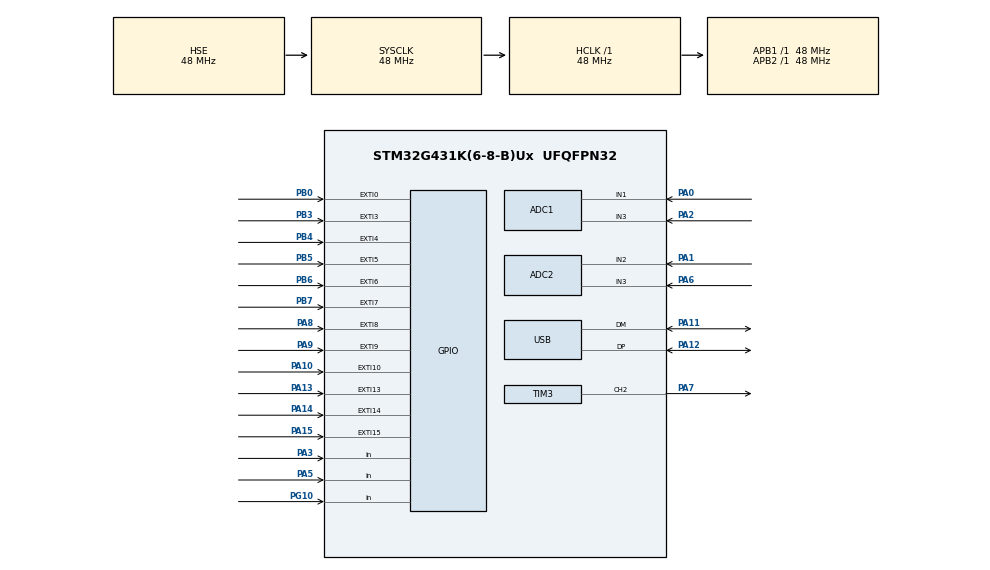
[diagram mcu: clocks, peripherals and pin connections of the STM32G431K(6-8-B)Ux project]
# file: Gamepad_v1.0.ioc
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ADC1.Channel-0\#ChannelRegularConversion=ADC_CHANNEL_1
ADC1.Channel-1\#ChannelRegularConversion=ADC_CHANNEL_3
ADC1.ContinuousConvMode=ENABLE
ADC1.DMAContinuousRequests=ENABLE
ADC1.EOCSelection=ADC_EOC_SEQ_CONV
ADC1.ExternalTrigConv=ADC_EXTERNALTRIG_T6_TRGO
ADC1.ExternalTrigConvEdge=ADC_EXTERNALTRIGCONVEDGE_RISING
ADC1.NbrOfConversion=2
ADC1.NbrOfConversionFlag=1
ADC1.OffsetNumber-0\#ChannelRegularConversion=ADC_OFFSET_NONE
ADC1.OffsetNumber-1\#ChannelRegularConversion=ADC_OFFSET_NONE
ADC1.Overrun=ADC_OVR_DATA_OVERWRITTEN
ADC1.Rank-0\#ChannelRegularConversion=1
ADC1.Rank-1\#ChannelRegularConversion=2
ADC1.SamplingTime-0\#ChannelRegularConversion=ADC_SAMPLETIME_2CYCLES_5
ADC1.SamplingTime-1\#ChannelRegularConversion=ADC_SAMPLETIME_2CYCLES_5
ADC1.master=1
ADC2.Channel-1\#ChannelRegularConversion=ADC_CHANNEL_2
ADC2.Channel-3\#ChannelRegularConversion=ADC_CHANNEL_3
ADC2.ContinuousConvMode=ENABLE
ADC2.DMAContinuousRequests=ENABLE
ADC2.EOCSelection=ADC_EOC_SEQ_CONV
ADC2.ExternalTrigConv=ADC_EXTERNALTRIG_T6_TRGO
ADC2.NbrOfConversion=2
ADC2.NbrOfConversionFlag=1
ADC2.OffsetNumber-1\#ChannelRegularConversion=ADC_OFFSET_NONE
ADC2.OffsetNumber-3\#ChannelRegularConversion=ADC_OFFSET_NONE
ADC2.Overrun=ADC_OVR_DATA_OVERWRITTEN
ADC2.Rank-1\#ChannelRegularConversion=1
ADC2.Rank-3\#ChannelRegularConversion=2
ADC2.SamplingTime-1\#ChannelRegularConversion=ADC_SAMPLETIME_2CYCLES_5
ADC2.SamplingTime-3\#ChannelRegularConversion=ADC_SAMPLETIME_2CYCLES_5
Dma.ADC1.0.Direction=DMA_PERIPH_TO_MEMORY
Dma.ADC1.0.EventEnable=DISABLE
Dma.ADC1.0.Instance=DMA1_Channel1
Dma.ADC1.0.MemDataAlignment=DMA_MDATAALIGN_HALFWORD
Dma.ADC1.0.MemInc=DMA_MINC_ENABLE
Dma.ADC1.0.Mode=DMA_CIRCULAR
Dma.ADC1.0.PeriphDataAlignment=DMA_PDATAALIGN_HALFWORD
Dma.ADC1.0.PeriphInc=DMA_PINC_DISABLE
Dma.ADC1.0.Polarity=HAL_DMAMUX_REQ_GEN_RISING
Dma.ADC1.0.Priority=DMA_PRIORITY_HIGH
Dma.ADC1.0.RequestNumber=1
Dma.ADC1.0.SignalID=NONE
Dma.ADC1.0.SyncEnable=DISABLE
Dma.ADC1.0.SyncPolarity=HAL_DMAMUX_SYNC_NO_EVENT
Dma.ADC1.0.SyncRequestNumber=1
Dma.ADC1.0.SyncSignalID=NONE
Dma.ADC2.1.Direction=DMA_PERIPH_TO_MEMORY
Dma.ADC2.1.EventEnable=DISABLE
Dma.ADC2.1.Instance=DMA1_Channel2
Dma.ADC2.1.MemDataAlignment=DMA_MDATAALIGN_HALFWORD
Dma.ADC2.1.MemInc=DMA_MINC_ENABLE
Dma.ADC2.1.Mode=DMA_CIRCULAR
Dma.ADC2.1.PeriphDataAlignment=DMA_PDATAALIGN_HALFWORD
Dma.ADC2.1.PeriphInc=DMA_PINC_DISABLE
Dma.ADC2.1.Polarity=HAL_DMAMUX_REQ_GEN_RISING
Dma.ADC2.1.Priority=DMA_PRIORITY_HIGH
Dma.ADC2.1.RequestNumber=1
Dma.ADC2.1.SignalID=NONE
Dma.ADC2.1.SyncEnable=DISABLE
Dma.ADC2.1.SyncPolarity=HAL_DMAMUX_SYNC_NO_EVENT
Dma.ADC2.1.SyncRequestNumber=1
Dma.ADC2.1.SyncSignalID=NONE
Dma.Request0=ADC1
Dma.Request1=ADC2
Dma.Request2=TIM3_CH2
Dma.TIM3_CH2.2.Direction=DMA_MEMORY_TO_PERIPH
Dma.TIM3_CH2.2.EventEnable=DISABLE
Dma.TIM3_CH2.2.Instance=DMA1_Channel3
Dma.TIM3_CH2.2.MemDataAlignment=DMA_MDATAALIGN_HALFWORD
Dma.TIM3_CH2.2.MemInc=DMA_MINC_ENABLE
Dma.TIM3_CH2.2.Mode=DMA_NORMAL
Dma.TIM3_CH2.2.PeriphDataAlignment=DMA_PDATAALIGN_HALFWORD
Dma.TIM3_CH2.2.PeriphInc=DMA_PINC_DISABLE
Dma.TIM3_CH2.2.Polarity=HAL_DMAMUX_REQ_GEN_RISING
Dma.TIM3_CH2.2.Priority=DMA_PRIORITY_HIGH
Dma.TIM3_CH2.2.RequestNumber=1
Dma.TIM3_CH2.2.SignalID=NONE
Dma.TIM3_CH2.2.SyncEnable=DISABLE
Dma.TIM3_CH2.2.SyncPolarity=HAL_DMAMUX_SYNC_NO_EVENT
Dma.TIM3_CH2.2.SyncRequestNumber=1
Dma.TIM3_CH2.2.SyncSignalID=NONE
Mcu.Family=STM32G4
Mcu.Name=STM32G431K(6-8-B)Ux
Mcu.Package=UFQFPN32
NVIC.DMA1_Channel3_IRQn=true\:2\:0\:true\:false\:true\:true\:true\:true
NVIC.EXTI0_IRQn=true\:0\:0\:false\:false\:true\:true\:true\:true
NVIC.EXTI15_10_IRQn=true\:0\:0\:false\:false\:true\:true\:true\:true
NVIC.EXTI3_IRQn=true\:0\:0\:false\:false\:true\:true\:true\:true
NVIC.EXTI4_IRQn=true\:0\:0\:false\:false\:true\:true\:true\:true
NVIC.EXTI9_5_IRQn=true\:0\:0\:false\:false\:true\:true\:true\:true
NVIC.PriorityGroup=NVIC_PRIORITYGROUP_4
NVIC.TIM1_TRG_COM_TIM17_IRQn=true\:0\:0\:false\:false\:true\:true\:true\:true
NVIC.TIM1_UP_TIM16_IRQn=true\:0\:0\:false\:false\:true\:true\:true\:true
NVIC.TIM7_IRQn=true\:0\:0\:false\:false\:true\:true\:true\:true
NVIC.USB_LP_IRQn=true\:1\:0\:true\:false\:true\:false\:true\:true
PA0.Mode=IN1-Single-Ended
PA0.Signal=ADC1_IN1
PA1.Mode=IN2-Single-Ended
PA1.Signal=ADC2_IN2
PA10.GPIO_ModeDefaultEXTI=GPIO_MODE_IT_RISING_FALLING
PA10.GPIO_PuPd=GPIO_NOPULL
PA10.Signal=GPXTI10
PA11.Mode=Device
PA11.Signal=USB_DM
PA12.Mode=Device
PA12.Signal=USB_DP
PA13.GPIO_PuPd=GPIO_PULLUP
PA13.Signal=GPXTI13
PA14.GPIO_PuPd=GPIO_PULLUP
PA14.Signal=GPXTI14
PA15.GPIO_ModeDefaultEXTI=GPIO_MODE_IT_RISING_FALLING
PA15.GPIO_PuPd=GPIO_PULLUP
PA15.Signal=GPXTI15
PA2.Mode=IN3-Single-Ended
PA2.Signal=ADC1_IN3
PA3.GPIO_PuPd=GPIO_NOPULL
PA3.Signal=GPIO_Input
PA5.Signal=GPIO_Input
PA6.Mode=IN3-Single-Ended
PA6.Signal=ADC2_IN3
PA7.Signal=S_TIM3_CH2
PA8.GPIO_ModeDefaultEXTI=GPIO_MODE_IT_RISING_FALLING
PA8.GPIO_PuPd=GPIO_NOPULL
PA8.Signal=GPXTI8
PA9.GPIO_ModeDefaultEXTI=GPIO_MODE_IT_RISING_FALLING
PA9.GPIO_PuPd=GPIO_NOPULL
PA9.Signal=GPXTI9
PB0.GPIO_ModeDefaultEXTI=GPIO_MODE_IT_RISING_FALLING
PB0.GPIO_PuPd=GPIO_NOPULL
PB0.Signal=GPXTI0
PB3.GPIO_ModeDefaultEXTI=GPIO_MODE_IT_RISING_FALLING
PB3.GPIO_PuPd=GPIO_PULLUP
PB3.Signal=GPXTI3
PB4.GPIO_ModeDefaultEXTI=GPIO_MODE_IT_RISING_FALLING
PB4.GPIO_PuPd=GPIO_NOPULL
PB4.Signal=GPXTI4
PB5.GPIO_ModeDefaultEXTI=GPIO_MODE_IT_RISING_FALLING
PB5.GPIO_PuPd=GPIO_NOPULL
PB5.Signal=GPXTI5
PB6.GPIO_ModeDefaultEXTI=GPIO_MODE_IT_RISING_FALLING
PB6.GPIO_PuPd=GPIO_NOPULL
PB6.Signal=GPXTI6
PB7.GPIO_ModeDefaultEXTI=GPIO_MODE_IT_RISING_FALLING
PB7.GPIO_PuPd=GPIO_NOPULL
PB7.Signal=GPXTI7
PF0-OSC_IN.Mode=HSE-External-Oscillator
PF0-OSC_IN.Signal=RCC_OSC_IN
PF1-OSC_OUT.Mode=HSE-External-Oscillator
PF1-OSC_OUT.Signal=RCC_OSC_OUT
PG10-NRST.GPIO_PuPd=GPIO_NOPULL
PG10-NRST.Signal=GPIO_Input
ProjectManager.HeapSize=0x200
ProjectManager.StackSize=0x400
ProjectManager.TargetToolchain=STM32CubeIDE
RCC.ADC12Freq_Value=48000000
RCC.AHBFreq_Value=48000000
RCC.APB1Freq_Value=48000000
RCC.APB1TimFreq_Value=48000000
RCC.APB2Freq_Value=48000000
RCC.APB2TimFreq_Value=48000000
RCC.CortexFreq_Value=48000000
RCC.EXTERNAL_CLOCK_VALUE=12288000
RCC.HCLKFreq_Value=48000000
RCC.HSE_VALUE=48000000
RCC.HSI48_VALUE=48000000
RCC.HSI_VALUE=16000000
RCC.LSE_VALUE=32768
RCC.PLLM=RCC_PLLM_DIV3
RCC.PLLN=12
RCC.PLLQ=RCC_PLLQ_DIV4
RCC.PLLSourceVirtual=RCC_PLLSOURCE_HSE
RCC.SYSCLKFreq_VALUE=48000000
RCC.SYSCLKSource=RCC_SYSCLKSOURCE_HSE
RCC.USBFreq_Value=48000000
RCC.VCOOutputFreq_Value=192000000
SH.S_TIM3_CH2.0=TIM3_CH2,PWM Generation2 CH2
TIM16.AutoReloadPreload=TIM_AUTORELOAD_PRELOAD_DISABLE
TIM16.PeriodNoDither=99
TIM16.Prescaler=47999
TIM17.PeriodNoDither=99
TIM17.Prescaler=47999
TIM3.Channel-PWM\ Generation2\ CH2=TIM_CHANNEL_2
TIM3.PeriodNoDither=59
TIM6.AutoReloadPreload=TIM_AUTORELOAD_PRELOAD_ENABLE
TIM6.PeriodNoDither=999
TIM6.Prescaler=47
TIM6.TIM_MasterOutputTrigger=TIM_TRGO_UPDATE
TIM7.PeriodNoDither=99
TIM7.Prescaler=47999
TIM7.TIM_MasterOutputTrigger=TIM_TRGO_RESET
USB_DEVICE.CLASS_NAME_FS=CUSTOM_HID
USB_DEVICE.CONFIGURATION_STRING_CUSTOMHID_FS=Phoenix
USB_DEVICE.CUSTOM_HID_FS_BINTERVAL=0x01
USB_DEVICE.INTERFACE_STRING_CUSTOMHID_FS=Phoenix
USB_DEVICE.PRODUCT_STRING_CUSTOMHID_FS=Phoenix 1
USB_DEVICE.USBD_CUSTOMHID_OUTREPORT_BUF_SIZE=64
USB_DEVICE.USBD_CUSTOM_HID_REPORT_DESC_SIZE=90
USB_DEVICE.USBD_DEBUG_LEVEL=0
USB_DEVICE.USBD_SELF_POWERED=0
USB_DEVICE.VirtualMode=CustomHid
USB_DEVICE.VirtualModeFS=Custom_Hid_FS
VP_SYS_VS_DBSignals.Mode=DisableDeadBatterySignals
VP_TIM16_VS_ClockSourceINT.Mode=Enable_Timer
VP_TIM17_VS_ClockSourceINT.Mode=Enable_Timer
VP_TIM6_VS_ClockSourceINT.Mode=Enable_Timer
VP_TIM7_VS_ClockSourceINT.Mode=Enable_Timer
VP_USB_DEVICE_VS_USB_DEVICE_CUSTOM_HID_FS.Mode=CUSTOM_HID_FS
board=custom

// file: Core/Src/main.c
/* USER CODE BEGIN Header */
/**
  ******************************************************************************
  * @file           : main.c
  * @brief          : Main program body
  ******************************************************************************
  * @attention
  *
  * Copyright (c) 2024 STMicroelectronics.
  * All rights reserved.
  *
  * This software is licensed under terms that can be found in the LICENSE file
  * in the root directory of this software component.
  * If no LICENSE file comes with this software, it is provided AS-IS.
  *
  ******************************************************************************
  */
/* USER CODE END Header */
#include "main.h"
#include "usb_device.h"

ADC_HandleTypeDef hadc1;
ADC_HandleTypeDef hadc2;
DMA_HandleTypeDef hdma_adc1;
DMA_HandleTypeDef hdma_adc2;

TIM_HandleTypeDef htim3;
TIM_HandleTypeDef htim6;
TIM_HandleTypeDef htim7;
TIM_HandleTypeDef htim16;
TIM_HandleTypeDef htim17;
DMA_HandleTypeDef hdma_tim3_ch2;

void SystemClock_Config(void);
static void MX_GPIO_Init(void);
static void MX_DMA_Init(void);
static void MX_ADC1_Init(void);
static void MX_TIM6_Init(void);
static void MX_TIM17_Init(void);
static void MX_TIM7_Init(void);
static void MX_TIM16_Init(void);
static void MX_ADC2_Init(void);
static void MX_TIM3_Init(void);

/* USER CODE BEGIN 0 */
	uint8_t Backlight;
	uint8_t Enter;
	uint8_t A = 0;

	ADC_HandleTypeDef* hadc;

	volatile uint16_t last_gpioa_state = 0;
	volatile uint16_t last_gpiob_state = 0;
	volatile uint16_t previous_gpioa_state = 0;
	volatile uint16_t previous_gpiob_state = 0;
	volatile uint16_t last_hat_b_state = 0;
	volatile uint16_t prev_hat_b_state = 0;

	extern GamepadReport_TypeDef gamepad_report;
/* USER CODE END 0 */

int main(void)
{

  /* MCU Configuration--------------------------------------------------------*/

  /* Reset of all peripherals, Initializes the Flash interface and the Systick. */
  HAL_Init();

  /* Configure the system clock */
  SystemClock_Config();

  /* Initialize all configured peripherals */
  MX_GPIO_Init();
  MX_DMA_Init();
  MX_ADC1_Init();
  MX_USB_Device_Init();
  MX_TIM6_Init();
  MX_TIM17_Init();
  MX_TIM7_Init();
  MX_TIM16_Init();
  MX_ADC2_Init();
  MX_TIM3_Init();
  /* USER CODE BEGIN 2 */
  ADC_DMA_Init();
  Update_Range();
  /* USER CODE END 2 */

  /* Infinite loop */
  while (1)
  {

    /* USER CODE BEGIN 3 */

	  SendReport();
	  HAL_Delay(50);
	  A++;
  }
  /* USER CODE END 3 */
}

void SystemClock_Config(void)
{
  RCC_OscInitTypeDef RCC_OscInitStruct = {0};
  RCC_ClkInitTypeDef RCC_ClkInitStruct = {0};

  /** Configure the main internal regulator output voltage
  */
  HAL_PWREx_ControlVoltageScaling(PWR_REGULATOR_VOLTAGE_SCALE1);

  /** Initializes the RCC Oscillators according to the specified parameters
  * in the RCC_OscInitTypeDef structure.
  */
  RCC_OscInitStruct.OscillatorType = RCC_OSCILLATORTYPE_HSE;
  RCC_OscInitStruct.HSEState = RCC_HSE_ON;
  RCC_OscInitStruct.PLL.PLLState = RCC_PLL_ON;
  RCC_OscInitStruct.PLL.PLLSource = RCC_PLLSOURCE_HSE;
  RCC_OscInitStruct.PLL.PLLM = RCC_PLLM_DIV3;
  RCC_OscInitStruct.PLL.PLLN = 12;
  RCC_OscInitStruct.PLL.PLLP = RCC_PLLP_DIV2;
  RCC_OscInitStruct.PLL.PLLQ = RCC_PLLQ_DIV4;
  RCC_OscInitStruct.PLL.PLLR = RCC_PLLR_DIV2;
  if (HAL_RCC_OscConfig(&RCC_OscInitStruct) != HAL_OK)
  {
    Error_Handler();
  }

  /** Initializes the CPU, AHB and APB buses clocks
  */
  RCC_ClkInitStruct.ClockType = RCC_CLOCKTYPE_HCLK|RCC_CLOCKTYPE_SYSCLK
                              |RCC_CLOCKTYPE_PCLK1|RCC_CLOCKTYPE_PCLK2;
  RCC_ClkInitStruct.SYSCLKSource = RCC_SYSCLKSOURCE_HSE;
  RCC_ClkInitStruct.AHBCLKDivider = RCC_SYSCLK_DIV1;
  RCC_ClkInitStruct.APB1CLKDivider = RCC_HCLK_DIV1;
  RCC_ClkInitStruct.APB2CLKDivider = RCC_HCLK_DIV1;

  if (HAL_RCC_ClockConfig(&RCC_ClkInitStruct, FLASH_LATENCY_1) != HAL_OK)
  {
    Error_Handler();
  }
}

static void MX_ADC1_Init(void)
{

  ADC_MultiModeTypeDef multimode = {0};
  ADC_ChannelConfTypeDef sConfig = {0};

  /** Common config
  */
  hadc1.Instance = ADC1;
  hadc1.Init.ClockPrescaler = ADC_CLOCK_SYNC_PCLK_DIV2;
  hadc1.Init.Resolution = ADC_RESOLUTION_12B;
  hadc1.Init.DataAlign = ADC_DATAALIGN_RIGHT;
  hadc1.Init.GainCompensation = 0;
  hadc1.Init.ScanConvMode = ADC_SCAN_ENABLE;
  hadc1.Init.EOCSelection = ADC_EOC_SEQ_CONV;
  hadc1.Init.LowPowerAutoWait = DISABLE;
  hadc1.Init.ContinuousConvMode = ENABLE;
  hadc1.Init.NbrOfConversion = 2;
  hadc1.Init.DiscontinuousConvMode = DISABLE;
  hadc1.Init.ExternalTrigConv = ADC_EXTERNALTRIG_T6_TRGO;
  hadc1.Init.ExternalTrigConvEdge = ADC_EXTERNALTRIGCONVEDGE_RISING;
  hadc1.Init.DMAContinuousRequests = ENABLE;
  hadc1.Init.Overrun = ADC_OVR_DATA_OVERWRITTEN;
  hadc1.Init.OversamplingMode = DISABLE;
  if (HAL_ADC_Init(&hadc1) != HAL_OK)
  {
    Error_Handler();
  }

  /** Configure the ADC multi-mode
  */
  multimode.Mode = ADC_MODE_INDEPENDENT;
  if (HAL_ADCEx_MultiModeConfigChannel(&hadc1, &multimode) != HAL_OK)
  {
    Error_Handler();
  }

  /** Configure Regular Channel
  */
  sConfig.Channel = ADC_CHANNEL_1;
  sConfig.Rank = ADC_REGULAR_RANK_1;
  sConfig.SamplingTime = ADC_SAMPLETIME_2CYCLES_5;
  sConfig.SingleDiff = ADC_SINGLE_ENDED;
  sConfig.OffsetNumber = ADC_OFFSET_NONE;
  sConfig.Offset = 0;
  if (HAL_ADC_ConfigChannel(&hadc1, &sConfig) != HAL_OK)
  {
    Error_Handler();
  }

  /** Configure Regular Channel
  */
  sConfig.Channel = ADC_CHANNEL_3;
  sConfig.Rank = ADC_REGULAR_RANK_2;
  if (HAL_ADC_ConfigChannel(&hadc1, &sConfig) != HAL_OK)
  {
    Error_Handler();
  }

}

static void MX_ADC2_Init(void)
{

  ADC_ChannelConfTypeDef sConfig = {0};

  /** Common config
  */
  hadc2.Instance = ADC2;
  hadc2.Init.ClockPrescaler = ADC_CLOCK_SYNC_PCLK_DIV2;
  hadc2.Init.Resolution = ADC_RESOLUTION_12B;
  hadc2.Init.DataAlign = ADC_DATAALIGN_RIGHT;
  hadc2.Init.GainCompensation = 0;
  hadc2.Init.ScanConvMode = ADC_SCAN_ENABLE;
  hadc2.Init.EOCSelection = ADC_EOC_SEQ_CONV;
  hadc2.Init.LowPowerAutoWait = DISABLE;
  hadc2.Init.ContinuousConvMode = ENABLE;
  hadc2.Init.NbrOfConversion = 2;
  hadc2.Init.DiscontinuousConvMode = DISABLE;
  hadc2.Init.ExternalTrigConv = ADC_EXTERNALTRIG_T6_TRGO;
  hadc2.Init.ExternalTrigConvEdge = ADC_EXTERNALTRIGCONVEDGE_RISING;
  hadc2.Init.DMAContinuousRequests = ENABLE;
  hadc2.Init.Overrun = ADC_OVR_DATA_OVERWRITTEN;
  hadc2.Init.OversamplingMode = DISABLE;
  if (HAL_ADC_Init(&hadc2) != HAL_OK)
  {
    Error_Handler();
  }

  /** Configure Regular Channel
  */
  sConfig.Channel = ADC_CHANNEL_2;
  sConfig.Rank = ADC_REGULAR_RANK_1;
  sConfig.SamplingTime = ADC_SAMPLETIME_2CYCLES_5;
  sConfig.SingleDiff = ADC_SINGLE_ENDED;
  sConfig.OffsetNumber = ADC_OFFSET_NONE;
  sConfig.Offset = 0;
  if (HAL_ADC_ConfigChannel(&hadc2, &sConfig) != HAL_OK)
  {
    Error_Handler();
  }

  /** Configure Regular Channel
  */
  sConfig.Channel = ADC_CHANNEL_3;
  sConfig.Rank = ADC_REGULAR_RANK_2;
  if (HAL_ADC_ConfigChannel(&hadc2, &sConfig) != HAL_OK)
  {
    Error_Handler();
  }

}

static void MX_TIM3_Init(void)
{

  TIM_MasterConfigTypeDef sMasterConfig = {0};
  TIM_OC_InitTypeDef sConfigOC = {0};

  htim3.Instance = TIM3;
  htim3.Init.Prescaler = 0;
  htim3.Init.CounterMode = TIM_COUNTERMODE_UP;
  htim3.Init.Period = 59;
  htim3.Init.ClockDivision = TIM_CLOCKDIVISION_DIV1;
  htim3.Init.AutoReloadPreload = TIM_AUTORELOAD_PRELOAD_DISABLE;
  if (HAL_TIM_PWM_Init(&htim3) != HAL_OK)
  {
    Error_Handler();
  }
  sMasterConfig.MasterOutputTrigger = TIM_TRGO_RESET;
  sMasterConfig.MasterSlaveMode = TIM_MASTERSLAVEMODE_DISABLE;
  if (HAL_TIMEx_MasterConfigSynchronization(&htim3, &sMasterConfig) != HAL_OK)
  {
    Error_Handler();
  }
  sConfigOC.OCMode = TIM_OCMODE_PWM1;
  sConfigOC.Pulse = 0;
  sConfigOC.OCPolarity = TIM_OCPOLARITY_HIGH;
  sConfigOC.OCFastMode = TIM_OCFAST_DISABLE;
  if (HAL_TIM_PWM_ConfigChannel(&htim3, &sConfigOC, TIM_CHANNEL_2) != HAL_OK)
  {
    Error_Handler();
  }
  HAL_TIM_MspPostInit(&htim3);

}

static void MX_TIM6_Init(void)
{

  TIM_MasterConfigTypeDef sMasterConfig = {0};

  htim6.Instance = TIM6;
  htim6.Init.Prescaler = 47;
  htim6.Init.CounterMode = TIM_COUNTERMODE_UP;
  htim6.Init.Period = 999;
  htim6.Init.AutoReloadPreload = TIM_AUTORELOAD_PRELOAD_ENABLE;
  if (HAL_TIM_Base_Init(&htim6) != HAL_OK)
  {
    Error_Handler();
  }
  sMasterConfig.MasterOutputTrigger = TIM_TRGO_UPDATE;
  sMasterConfig.MasterSlaveMode = TIM_MASTERSLAVEMODE_DISABLE;
  if (HAL_TIMEx_MasterConfigSynchronization(&htim6, &sMasterConfig) != HAL_OK)
  {
    Error_Handler();
  }

}

static void MX_TIM7_Init(void)
{

  TIM_MasterConfigTypeDef sMasterConfig = {0};

  htim7.Instance = TIM7;
  htim7.Init.Prescaler = 47999;
  htim7.Init.CounterMode = TIM_COUNTERMODE_UP;
  htim7.Init.Period = 99;
  htim7.Init.AutoReloadPreload = TIM_AUTORELOAD_PRELOAD_DISABLE;
  if (HAL_TIM_Base_Init(&htim7) != HAL_OK)
  {
    Error_Handler();
  }
  sMasterConfig.MasterOutputTrigger = TIM_TRGO_RESET;
  sMasterConfig.MasterSlaveMode = TIM_MASTERSLAVEMODE_DISABLE;
  if (HAL_TIMEx_MasterConfigSynchronization(&htim7, &sMasterConfig) != HAL_OK)
  {
    Error_Handler();
  }

}

static void MX_TIM16_Init(void)
{

  htim16.Instance = TIM16;
  htim16.Init.Prescaler = 47999;
  htim16.Init.CounterMode = TIM_COUNTERMODE_UP;
  htim16.Init.Period = 99;
  htim16.Init.ClockDivision = TIM_CLOCKDIVISION_DIV1;
  htim16.Init.RepetitionCounter = 0;
  htim16.Init.AutoReloadPreload = TIM_AUTORELOAD_PRELOAD_DISABLE;
  if (HAL_TIM_Base_Init(&htim16) != HAL_OK)
  {
    Error_Handler();
  }
  /* USER CODE BEGIN TIM16_Init 2 */
	HAL_TIM_Base_Start_IT (&htim16);
  /* USER CODE END TIM16_Init 2 */

}

static void MX_TIM17_Init(void)
{

  htim17.Instance = TIM17;
  htim17.Init.Prescaler = 47999;
  htim17.Init.CounterMode = TIM_COUNTERMODE_UP;
  htim17.Init.Period = 99;
  htim17.Init.ClockDivision = TIM_CLOCKDIVISION_DIV1;
  htim17.Init.RepetitionCounter = 0;
  htim17.Init.AutoReloadPreload = TIM_AUTORELOAD_PRELOAD_DISABLE;
  if (HAL_TIM_Base_Init(&htim17) != HAL_OK)
  {
    Error_Handler();
  }
  /* USER CODE BEGIN TIM17_Init 2 */
  HAL_TIM_Base_Start_IT (&htim17);
  /* USER CODE END TIM17_Init 2 */

}

static void MX_DMA_Init(void)
{

  /* DMA controller clock enable */
  __HAL_RCC_DMAMUX1_CLK_ENABLE();
  __HAL_RCC_DMA1_CLK_ENABLE();

  /* DMA interrupt init */
  /* DMA1_Channel3_IRQn interrupt configuration */
  HAL_NVIC_SetPriority(DMA1_Channel3_IRQn, 2, 0);
  HAL_NVIC_EnableIRQ(DMA1_Channel3_IRQn);

}

static void MX_GPIO_Init(void)
{
  GPIO_InitTypeDef GPIO_InitStruct = {0};

  /* GPIO Ports Clock Enable */
  __HAL_RCC_GPIOF_CLK_ENABLE();
  __HAL_RCC_GPIOG_CLK_ENABLE();
  __HAL_RCC_GPIOA_CLK_ENABLE();
  __HAL_RCC_GPIOB_CLK_ENABLE();

  /*Configure GPIO pin : PG10 */
  GPIO_InitStruct.Pin = GPIO_PIN_10;
  GPIO_InitStruct.Mode = GPIO_MODE_INPUT;
  GPIO_InitStruct.Pull = GPIO_NOPULL;
  HAL_GPIO_Init(GPIOG, &GPIO_InitStruct);

  /*Configure GPIO pins : PA3 PA5 */
  GPIO_InitStruct.Pin = GPIO_PIN_3|GPIO_PIN_5;
  GPIO_InitStruct.Mode = GPIO_MODE_INPUT;
  GPIO_InitStruct.Pull = GPIO_NOPULL;
  HAL_GPIO_Init(GPIOA, &GPIO_InitStruct);

  /*Configure GPIO pins : PB0 PB4 PB5 PB6
                           PB7 */
  GPIO_InitStruct.Pin = GPIO_PIN_0|GPIO_PIN_4|GPIO_PIN_5|GPIO_PIN_6
                          |GPIO_PIN_7;
  GPIO_InitStruct.Mode = GPIO_MODE_IT_RISING_FALLING;
  GPIO_InitStruct.Pull = GPIO_NOPULL;
  HAL_GPIO_Init(GPIOB, &GPIO_InitStruct);

  /*Configure GPIO pins : PA8 PA9 PA10 */
  GPIO_InitStruct.Pin = GPIO_PIN_8|GPIO_PIN_9|GPIO_PIN_10;
  GPIO_InitStruct.Mode = GPIO_MODE_IT_RISING_FALLING;
  GPIO_InitStruct.Pull = GPIO_NOPULL;
  HAL_GPIO_Init(GPIOA, &GPIO_InitStruct);

  /*Configure GPIO pins : PA13 PA14 */
  GPIO_InitStruct.Pin = GPIO_PIN_13|GPIO_PIN_14;
  GPIO_InitStruct.Mode = GPIO_MODE_IT_RISING;
  GPIO_InitStruct.Pull = GPIO_PULLUP;
  HAL_GPIO_Init(GPIOA, &GPIO_InitStruct);

  /*Configure GPIO pin : PA15 */
  GPIO_InitStruct.Pin = GPIO_PIN_15;
  GPIO_InitStruct.Mode = GPIO_MODE_IT_RISING_FALLING;
  GPIO_InitStruct.Pull = GPIO_PULLUP;
  HAL_GPIO_Init(GPIOA, &GPIO_InitStruct);

  /*Configure GPIO pin : PB3 */
  GPIO_InitStruct.Pin = GPIO_PIN_3;
  GPIO_InitStruct.Mode = GPIO_MODE_IT_RISING_FALLING;
  GPIO_InitStruct.Pull = GPIO_PULLUP;
  HAL_GPIO_Init(GPIOB, &GPIO_InitStruct);

  /* EXTI interrupt init*/
  HAL_NVIC_SetPriority(EXTI0_IRQn, 0, 0);
  HAL_NVIC_EnableIRQ(EXTI0_IRQn);

  HAL_NVIC_SetPriority(EXTI3_IRQn, 0, 0);
  HAL_NVIC_EnableIRQ(EXTI3_IRQn);

  HAL_NVIC_SetPriority(EXTI4_IRQn, 0, 0);
  HAL_NVIC_EnableIRQ(EXTI4_IRQn);

  HAL_NVIC_SetPriority(EXTI9_5_IRQn, 0, 0);
  HAL_NVIC_EnableIRQ(EXTI9_5_IRQn);

  HAL_NVIC_SetPriority(EXTI15_10_IRQn, 0, 0);
  HAL_NVIC_EnableIRQ(EXTI15_10_IRQn);

}

/* USER CODE BEGIN 4 */
void HAL_GPIO_EXTI_Callback (uint16_t GPIO_Pin)
{
	ButtonStatus();
}
/* USER CODE END 4 */

void Error_Handler(void)
{
  __disable_irq();
  while (1)
  {
  }
}
